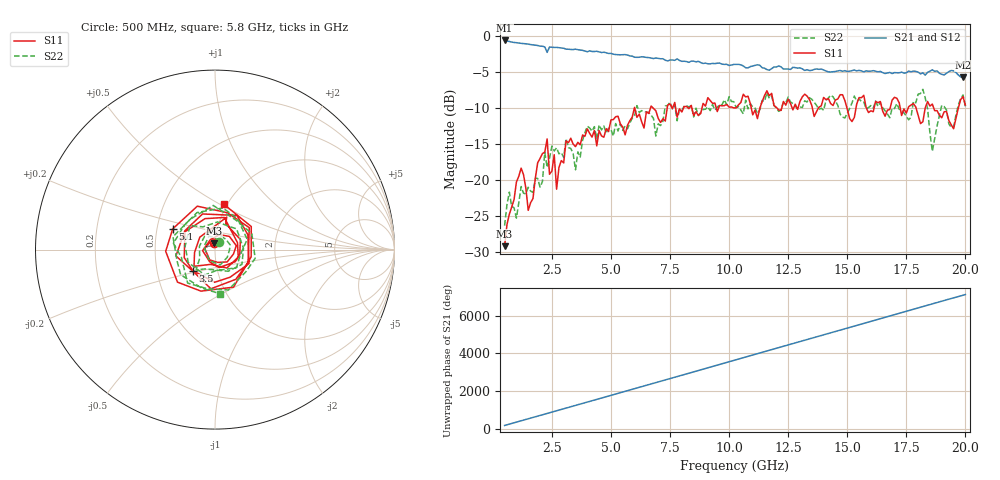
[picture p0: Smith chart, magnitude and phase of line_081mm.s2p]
!Created with skrf (http://scikit-rf.org).
# GHz S RI R 50.0
!freq ReS11 ImS11 ReS21 ImS21 ReS12 ImS12 ReS22 ImS22
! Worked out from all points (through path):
!   196 points, 500 MHz to 20 GHz, reference 50 ohm
!   highest |S21| = -0.61 dB at 500 MHz (marker M1); lowest = -5.8 dB at 19.9 GHz (marker M2)
!   lowest |S11| = -29.2 dB at 500 MHz (marker M3), VSWR 1.07, Z = 49.3 + j3.37 ohm
!   |S11| at or under -10 dB: start of sweep to 5.994 GHz; 6.006 GHz to 6.674 GHz (668.5 MHz wide, 10.5 % of centre); 18.66 GHz to 19.7 GHz (1.043 GHz wide, 5.44 % of centre)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
!   |S22| runs from -26.4 to -7.4 dB; largest |S21 - S12| = 0.44
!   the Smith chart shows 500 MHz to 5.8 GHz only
!   S11 on the Smith chart (normalised r, x): 500 MHz: 0.99, +0.07; 3.5 GHz: 0.76, -0.18; 5.1 GHz: 0.60, +0.15; 5.8 GHz: 0.96, +0.52
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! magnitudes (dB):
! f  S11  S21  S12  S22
! 500 MHz  -29.2  -0.6  -0.6  -26.4
! 1.2 GHz  -18.4  -1.0  -1.0  -20.9
! 1.5 GHz  -24.2  -1.1  -1.2  -21.0
! 2.3 GHz  -14.3  -2.3  -2.3  -18.3
! 2.4 GHz  -19.2  -1.5  -1.6  -17.0
! 2.6 GHz  -16.5  -1.6  -1.6  -16.0
! 2.7 GHz  -21.3  -1.6  -1.6  -15.5
! 3.1 GHz  -14.6  -1.8  -1.9  -14.3
! 3.5 GHz  -15.4  -1.8  -1.9  -18.6
! 3.8 GHz  -13.8  -2.0  -2.0  -14.5
! 5.1 GHz  -11.6  -2.5  -2.5  -13.9
! 5.8 GHz  -11.8  -2.8  -2.8  -12.1
! 7 GHz  -11.4  -3.1  -3.1  -12.2
! 10.3 GHz  -10.0  -3.9  -4.0  -9.9
! 13.5 GHz  -9.7  -4.8  -4.8  -8.8
! 16.8 GHz  -10.2  -5.1  -5.1  -11.4
! 18.2 GHz  -11.9  -5.1  -5.3  -7.4
! 18.6 GHz  -9.5  -4.7  -4.8  -16.0
! 19 GHz  -11.4  -5.3  -5.3  -9.6
! 19.5 GHz  -12.9  -4.8  -4.8  -12.7
! 19.9 GHz  -8.4  -5.8  -5.7  -8.2
! 20 GHz  -9.6  -5.5  -5.6  -9.8
